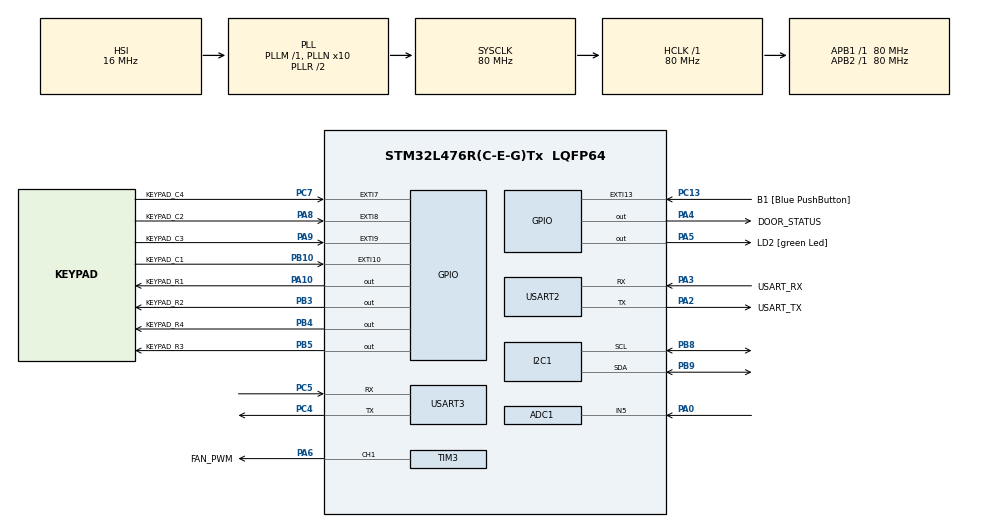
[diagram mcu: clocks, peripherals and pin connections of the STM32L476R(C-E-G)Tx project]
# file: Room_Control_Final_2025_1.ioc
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ADC1.Channel-0\#ChannelRegularConversion=ADC_CHANNEL_5
ADC1.NbrOfConversionFlag=1
ADC1.OffsetNumber-0\#ChannelRegularConversion=ADC_OFFSET_NONE
ADC1.Rank-0\#ChannelRegularConversion=1
ADC1.SamplingTime-0\#ChannelRegularConversion=ADC_SAMPLETIME_2CYCLES_5
ADC1.master=1
Dma.Request0=TIM3_CH1/TRIG
Dma.TIM3_CH1/TRIG.0.Direction=DMA_MEMORY_TO_PERIPH
Dma.TIM3_CH1/TRIG.0.Instance=DMA1_Channel6
Dma.TIM3_CH1/TRIG.0.MemDataAlignment=DMA_MDATAALIGN_HALFWORD
Dma.TIM3_CH1/TRIG.0.MemInc=DMA_MINC_ENABLE
Dma.TIM3_CH1/TRIG.0.Mode=DMA_NORMAL
Dma.TIM3_CH1/TRIG.0.PeriphDataAlignment=DMA_PDATAALIGN_HALFWORD
Dma.TIM3_CH1/TRIG.0.PeriphInc=DMA_PINC_DISABLE
Dma.TIM3_CH1/TRIG.0.Priority=DMA_PRIORITY_LOW
I2C1.Timing=0x10909CEC
Mcu.Family=STM32L4
Mcu.Name=STM32L476R(C-E-G)Tx
Mcu.Package=LQFP64
NVIC.ADC1_2_IRQn=true\:0\:0\:false\:false\:true\:true\:true\:true
NVIC.DMA1_Channel6_IRQn=true\:0\:0\:false\:false\:true\:false\:true\:true
NVIC.EXTI15_10_IRQn=true\:0\:0\:false\:false\:true\:true\:true\:true
NVIC.EXTI9_5_IRQn=true\:0\:0\:false\:false\:true\:true\:true\:true
NVIC.PriorityGroup=NVIC_PRIORITYGROUP_4
NVIC.USART2_IRQn=true\:0\:0\:false\:false\:true\:true\:true\:true
NVIC.USART3_IRQn=true\:0\:0\:false\:false\:true\:true\:true\:true
PA0.Signal=ADCx_IN5
PA10.GPIO_Label=KEYPAD_R1
PA10.Signal=GPIO_Output
PA13\ (JTMS-SWDIO).GPIO_Label=TMS
PA13\ (JTMS-SWDIO).Mode=Serial_Wire
PA13\ (JTMS-SWDIO).Signal=SYS_JTMS-SWDIO
PA14\ (JTCK-SWCLK).GPIO_Label=TCK
PA14\ (JTCK-SWCLK).Mode=Serial_Wire
PA14\ (JTCK-SWCLK).Signal=SYS_JTCK-SWCLK
PA2.GPIO_Label=USART_TX
PA2.GPIO_Mode=GPIO_MODE_AF_PP
PA2.GPIO_PuPd=GPIO_NOPULL
PA2.GPIO_Speed=GPIO_SPEED_FREQ_VERY_HIGH
PA2.Mode=Asynchronous
PA2.Signal=USART2_TX
PA3.GPIO_Label=USART_RX
PA3.GPIO_Mode=GPIO_MODE_AF_PP
PA3.GPIO_PuPd=GPIO_NOPULL
PA3.GPIO_Speed=GPIO_SPEED_FREQ_VERY_HIGH
PA3.Mode=Asynchronous
PA3.Signal=USART2_RX
PA4.GPIO_Label=DOOR_STATUS
PA4.Signal=GPIO_Output
PA5.GPIO_Label=LD2 [green Led]
PA5.GPIO_ModeDefaultOutputPP=GPIO_MODE_OUTPUT_PP
PA5.GPIO_PuPd=GPIO_NOPULL
PA5.GPIO_Speed=GPIO_SPEED_FREQ_LOW
PA5.Signal=GPIO_Output
PA6.GPIO_Label=FAN_PWM
PA6.Signal=S_TIM3_CH1
PA8.GPIO_Label=KEYPAD_C2
PA8.Signal=GPXTI8
PA9.GPIO_Label=KEYPAD_C3
PA9.Signal=GPXTI9
PB10.GPIO_Label=KEYPAD_C1
PB10.Signal=GPXTI10
PB3\ (JTDO-TRACESWO).GPIO_Label=KEYPAD_R2
PB3\ (JTDO-TRACESWO).Signal=GPIO_Output
PB4\ (NJTRST).GPIO_Label=KEYPAD_R4
PB4\ (NJTRST).Signal=GPIO_Output
PB5.GPIO_Label=KEYPAD_R3
PB5.Signal=GPIO_Output
PB8.Mode=I2C
PB8.Signal=I2C1_SCL
PB9.Mode=I2C
PB9.Signal=I2C1_SDA
PC13.GPIO_Label=B1 [Blue PushButton]
PC13.GPIO_ModeDefaultEXTI=GPIO_MODE_IT_FALLING
PC13.GPIO_PuPd=GPIO_NOPULL
PC13.Signal=GPXTI13
PC14-OSC32_IN\ (PC14).Mode=LSE-External-Oscillator
PC14-OSC32_IN\ (PC14).Signal=RCC_OSC32_IN
PC15-OSC32_OUT\ (PC15).Mode=LSE-External-Oscillator
PC15-OSC32_OUT\ (PC15).Signal=RCC_OSC32_OUT
PC4.Mode=Asynchronous
PC4.Signal=USART3_TX
PC5.Mode=Asynchronous
PC5.Signal=USART3_RX
PC7.GPIO_Label=KEYPAD_C4
PC7.Signal=GPXTI7
PH0-OSC_IN\ (PH0).Signal=RCC_OSC_IN
PH1-OSC_OUT\ (PH1).Signal=RCC_OSC_OUT
ProjectManager.HeapSize=0x200
ProjectManager.StackSize=0x400
ProjectManager.TargetToolchain=CMake
RCC.ADCFreq_Value=64000000
RCC.AHBFreq_Value=80000000
RCC.APB1Freq_Value=80000000
RCC.APB1TimFreq_Value=80000000
RCC.APB2Freq_Value=80000000
RCC.APB2TimFreq_Value=80000000
RCC.CortexFreq_Value=80000000
RCC.HCLKFreq_Value=80000000
RCC.HSE_VALUE=8000000
RCC.HSI_VALUE=16000000
RCC.MSI_VALUE=4000000
RCC.PLLN=10
RCC.PLLSourceVirtual=RCC_PLLSOURCE_HSI
RCC.PREFETCH_ENABLE=1
RCC.SYSCLKFreq_VALUE=80000000
RCC.SYSCLKSource=RCC_SYSCLKSOURCE_PLLCLK
RCC.USBFreq_Value=64000000
RCC.VCOOutputFreq_Value=160000000
SH.ADCx_IN5.0=ADC1_IN5,IN5-Single-Ended
SH.S_TIM3_CH1.0=TIM3_CH1,PWM Generation1 CH1
TIM3.Channel-PWM\ Generation1\ CH1=TIM_CHANNEL_1
TIM3.Period=100 - 1
TIM3.Prescaler=8000 - 1
USART2.VirtualMode-Asynchronous=VM_ASYNC
USART3.VirtualMode-Asynchronous=VM_ASYNC
board=NUCLEO-L476RG

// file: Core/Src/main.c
/* USER CODE BEGIN Header */
/**
  ******************************************************************************
  * @file           : main.c
  * @brief          : Main program body
  ******************************************************************************
  * @attention
  *
  * Copyright (c) 2025 STMicroelectronics.
  * All rights reserved.
  *
  * This software is licensed under terms that can be found in the LICENSE file
  * in the root directory of this software component.
  * If no LICENSE file comes with this software, it is provided AS-IS.
  *
  ******************************************************************************
  */
/* USER CODE END Header */
#include "main.h"

/* USER CODE BEGIN Includes */
#include "led.h"
#include "keypad.h"
#include "ring_buffer.h"
#include "room_control.h"
#include <stdio.h>
#include "ssd1306.h"
#include "ssd1306_fonts.h"
#include "command_parser.h"

/* USER CODE END Includes */

ADC_HandleTypeDef hadc1;
I2C_HandleTypeDef hi2c1;
TIM_HandleTypeDef htim3;
DMA_HandleTypeDef hdma_tim3_ch1_trig;
UART_HandleTypeDef huart2;
UART_HandleTypeDef huart3;

/* USER CODE BEGIN PV */
uint8_t button_pressed = 0; // Flag to indicate if the button is pressed

// Estructura que contiene la configuración del LED de "latido" (LD2)
led_handle_t heartbeat_led = {
    .port = LD2_GPIO_Port,
    .pin = LD2_Pin
};

// Variable para almacenar el byte recibido por UART2 (canal de depuración o consola)
uint8_t usart_2_rxbyte = 0;

// Configuración del teclado matricial (Keypad 4x4)
keypad_handle_t keypad = {
    .row_ports = {KEYPAD_R1_GPIO_Port, KEYPAD_R2_GPIO_Port, KEYPAD_R3_GPIO_Port, KEYPAD_R4_GPIO_Port},
    .row_pins  = {KEYPAD_R1_Pin, KEYPAD_R2_Pin, KEYPAD_R3_Pin, KEYPAD_R4_Pin},
    .col_ports = {KEYPAD_C1_GPIO_Port, KEYPAD_C2_GPIO_Port, KEYPAD_C3_GPIO_Port, KEYPAD_C4_GPIO_Port},
    .col_pins  = {KEYPAD_C1_Pin, KEYPAD_C2_Pin, KEYPAD_C3_Pin, KEYPAD_C4_Pin}
};
#define KEYPAD_BUFFER_LEN 16
// Buffer circular donde se almacenan las teclas presionadas
uint8_t keypad_buffer[KEYPAD_BUFFER_LEN];
ring_buffer_t keypad_rb;
// Variable para identificar cuál pin del keypad generó una interrupción
volatile uint16_t keypad_interrupt_pin = 0;

//Estructura principal que representa el sistema de control del cuarto
room_control_t room_system;

// Byte recibido por UART3 (canal del ESP-01 para control remoto)
uint8_t usart_3_rxbyte = 0;

TIM_HandleTypeDef htim2;

/* USER CODE END PV */

void SystemClock_Config(void);
static void MX_GPIO_Init(void);
static void MX_DMA_Init(void);
static void MX_USART2_UART_Init(void);
static void MX_I2C1_Init(void);
static void MX_TIM3_Init(void);
static void MX_ADC1_Init(void);
static void MX_USART3_UART_Init(void);

/* USER CODE BEGIN 0 */

// Callback de interrupción para pines GPIO (por ejemplo, botón B1 o columnas del keypad)
void HAL_GPIO_EXTI_Callback(uint16_t GPIO_Pin)
{
  if (GPIO_Pin == B1_Pin) {
    // Si se presiona el botón físico, se activa la bandera
    button_pressed = 1; // Set the flag when the button is pressed
  } else {
    // Si es una interrupción de columna del keypad, se guarda el pin
    keypad_interrupt_pin = GPIO_Pin;
  }
}

// Callback cuando se recibe un byte por UART (tanto en UART2 como en UART3)
void HAL_UART_RxCpltCallback(UART_HandleTypeDef *huart)
{
  if (huart->Instance == USART2) {
    // Procesa el byte recibido por la terminal UART2
    command_parser_process_debug(usart_2_rxbyte);
    HAL_UART_Receive_IT(&huart2, &usart_2_rxbyte, 1);
  } else if (huart->Instance == USART3) {
     // Procesa el byte recibido por el ESP-01 (WiFi) a través de UART3
    command_parser_process_esp01(usart_3_rxbyte);
    HAL_UART_Receive_IT(&huart3, &usart_3_rxbyte, 1);
  }
}

// Función para hacer parpadear el LED LD2 cuando el sistema está en estado bloqueado
void heartbeat(void)
{
  static uint32_t last_toggle = 0;
  // Solo parpadea si el sistema está bloqueado
  if (room_control_get_state(&room_system) == ROOM_STATE_LOCKED) {
    // El LED parpadea cada 500ms
    if (HAL_GetTick() - last_toggle >= 500) {
      led_toggle(&heartbeat_led);
      last_toggle = HAL_GetTick();
    }
  }
}

// Escribe un mensaje en la pantalla OLED en una posición específica
void write_to_oled(char *message, SSD1306_COLOR color, uint8_t x, uint8_t y)
{
  ssd1306_Fill(Black); // Clear the display
  ssd1306_SetCursor(x, y); // Set cursor to the specified position
  ssd1306_WriteString(message, Font_7x10, color);
  ssd1306_UpdateScreen(); // Update the display to show the message
}

// Función que lee el sensor LM35 conectado al ADC
float read_temperature(void) {
    const int NUM_SAMPLES = 16;
    uint32_t adc_sum = 0;

    // Toma 16 muestras para hacer un promedio y filtrar ruido
    for (int i = 0; i < NUM_SAMPLES; ++i) {
        HAL_ADC_Start(&hadc1);
        if (HAL_ADC_PollForConversion(&hadc1, 10) == HAL_OK) {
            adc_sum += HAL_ADC_GetValue(&hadc1);
        }
        HAL_ADC_Stop(&hadc1);

    }

    // Se convierte la lectura promedio a voltaje y luego a temperatura
    float adc_avg = adc_sum / (float)NUM_SAMPLES;
    float voltage = (adc_avg * 3.3f) / 4095.0f;
    // Inversión forzada
    float inverted_voltage = 0.5f - voltage; // Ajusta el offset según tu sensor

    return inverted_voltage * 100.0f;// LM35 da 10mV por °C → 1V = 100°C
}

void heartbeat_temp(void) {
    static uint32_t last_read_time = 0;
    uint32_t now = HAL_GetTick();

    if (now - last_read_time >= 2000) {
        float temperature = read_temperature();
        room_control_set_temperature(&room_system, temperature);
        last_read_time = now;
    }
}

/* USER CODE END 0 */

int main(void)
{

  /* MCU Configuration--------------------------------------------------------*/

  /* Reset of all peripherals, Initializes the Flash interface and the Systick. */
    HAL_Init();

  /* Configure the system clock */
  SystemClock_Config();

  /* Initialize all configured peripherals */
  MX_GPIO_Init();
  MX_DMA_Init();
  MX_USART2_UART_Init();
  MX_I2C1_Init();
  MX_TIM3_Init();
  MX_ADC1_Init();
  MX_USART3_UART_Init();
  /* USER CODE BEGIN 2 */

  led_init(&heartbeat_led);// Inicializa el LED de latido (LED verde LD2)
  ssd1306_Init();// Inicializa pantalla OLED

  // Habilita recepción por interrupción en UART2 y UART3 (modo no bloqueante)
  HAL_UART_Receive_IT(&huart2, &usart_2_rxbyte, 1);
  HAL_UART_Receive_IT(&huart3, &usart_3_rxbyte, 1);

  // Inicializa buffer circular y el keypad físico
  ring_buffer_init(&keypad_rb, keypad_buffer, KEYPAD_BUFFER_LEN);
  keypad_init(&keypad);

  // TODO: TAREA - Descomentar cuando implementen la lógica del sistema
  // Inicializa la lógica del sistema de control del cuarto (estados, contraseña, etc.)
  room_control_init(&room_system);

  // Iniciar PWM para el ventilador
  HAL_TIM_PWM_Start(&htim3, TIM_CHANNEL_1);

  /* USER CODE END 2 */

  /* Infinite loop */
  /* USER CODE BEGIN WHILE */

  // Clear the display
  ssd1306_Fill(Black);
  // Display a message on the OLED
  ssd1306_SetCursor(17, 17); // Set cursor to the center
  ssd1306_WriteString("Welcome to Room Control", Font_7x10, White);
  ssd1306_UpdateScreen(); // Update the display to show the
  HAL_UART_Transmit(&huart2, (uint8_t *)"Welcome to Room Control\r\n", 27, HAL_MAX_DELAY);

  while (1) {
    // Parpadea el LED si el sistema está bloqueado
    heartbeat(); // Call the heartbeat function to toggle the LED
    heartbeat_temp(); // Call the function to read temperature periodically
    // TODO: TAREA - Descomentar cuando implementen la máquina de estados
    // Actualiza el sistema de control del cuarto (máquina de estados)
    room_control_update(&room_system);

    // Procesa teclas del keypad
    if (keypad_interrupt_pin != 0) {
      char key = keypad_scan(&keypad, keypad_interrupt_pin);// Lee la tecla presionada
      if (key != '\0') {
        // TODO: TAREA - Descomentar para enviar teclas al sistema de control
        room_control_process_key(&room_system, key);// Envía la tecla al sistema de control del cuarto
      }
      keypad_interrupt_pin = 0;// Limpia el pin de interrupción para evitar lecturas duplicadas
    }

    // DEMO: Button functionality - Remove when implementing room control logic
    if (button_pressed) {
      write_to_oled("Button Pressed!", White, 17, 17); // Display message on OLED
      button_pressed = 0; // Reset the flag
    }

    // DEMO: UART functionality - Remove when implementing room control logic
    if (usart_2_rxbyte != 0) {
      write_to_oled((char *)&usart_2_rxbyte, White, 31, 31); // Display received byte on OLED
      usart_2_rxbyte = 0; // Reset the received byte variable
    }

    // TODO: TAREA - Implementar procesamiento de comandos remotos
    // command_parser_process(); // Procesar comandos de UART2 y UART3

    // TODO: TAREA - Leer sensor de temperatura y actualizar sistema

    //float temperature = read_temperature();
    //room_control_set_temperature(&room_system, temperature);// Actualiza la temperatura en la estructura del sistema

    /* USER CODE END WHILE */

  }
}

void SystemClock_Config(void)
{
  RCC_OscInitTypeDef RCC_OscInitStruct = {0};
  RCC_ClkInitTypeDef RCC_ClkInitStruct = {0};

  /** Configure the main internal regulator output voltage
  */
  if (HAL_PWREx_ControlVoltageScaling(PWR_REGULATOR_VOLTAGE_SCALE1) != HAL_OK)
  {
    Error_Handler();
  }

  /** Initializes the RCC Oscillators according to the specified parameters
  * in the RCC_OscInitTypeDef structure.
  */
  RCC_OscInitStruct.OscillatorType = RCC_OSCILLATORTYPE_HSI;
  RCC_OscInitStruct.HSIState = RCC_HSI_ON;
  RCC_OscInitStruct.HSICalibrationValue = RCC_HSICALIBRATION_DEFAULT;
  RCC_OscInitStruct.PLL.PLLState = RCC_PLL_ON;
  RCC_OscInitStruct.PLL.PLLSource = RCC_PLLSOURCE_HSI;
  RCC_OscInitStruct.PLL.PLLM = 1;
  RCC_OscInitStruct.PLL.PLLN = 10;
  RCC_OscInitStruct.PLL.PLLP = RCC_PLLP_DIV7;
  RCC_OscInitStruct.PLL.PLLQ = RCC_PLLQ_DIV2;
  RCC_OscInitStruct.PLL.PLLR = RCC_PLLR_DIV2;
  if (HAL_RCC_OscConfig(&RCC_OscInitStruct) != HAL_OK)
  {
    Error_Handler();
  }

  /** Initializes the CPU, AHB and APB buses clocks
  */
  RCC_ClkInitStruct.ClockType = RCC_CLOCKTYPE_HCLK|RCC_CLOCKTYPE_SYSCLK
                              |RCC_CLOCKTYPE_PCLK1|RCC_CLOCKTYPE_PCLK2;
  RCC_ClkInitStruct.SYSCLKSource = RCC_SYSCLKSOURCE_PLLCLK;
  RCC_ClkInitStruct.AHBCLKDivider = RCC_SYSCLK_DIV1;
  RCC_ClkInitStruct.APB1CLKDivider = RCC_HCLK_DIV1;
  RCC_ClkInitStruct.APB2CLKDivider = RCC_HCLK_DIV1;

  if (HAL_RCC_ClockConfig(&RCC_ClkInitStruct, FLASH_LATENCY_4) != HAL_OK)
  {
    Error_Handler();
  }
}

static void MX_ADC1_Init(void)
{

  ADC_MultiModeTypeDef multimode = {0};
  ADC_ChannelConfTypeDef sConfig = {0};

  /** Common config
  */
  hadc1.Instance = ADC1;
  hadc1.Init.ClockPrescaler = ADC_CLOCK_ASYNC_DIV1;
  hadc1.Init.Resolution = ADC_RESOLUTION_12B;
  hadc1.Init.DataAlign = ADC_DATAALIGN_RIGHT;
  hadc1.Init.ScanConvMode = ADC_SCAN_DISABLE;
  hadc1.Init.EOCSelection = ADC_EOC_SINGLE_CONV;
  hadc1.Init.LowPowerAutoWait = DISABLE;
  hadc1.Init.ContinuousConvMode = DISABLE;
  hadc1.Init.NbrOfConversion = 1;
  hadc1.Init.DiscontinuousConvMode = DISABLE;
  hadc1.Init.ExternalTrigConv = ADC_SOFTWARE_START;
  hadc1.Init.ExternalTrigConvEdge = ADC_EXTERNALTRIGCONVEDGE_NONE;
  hadc1.Init.DMAContinuousRequests = DISABLE;
  hadc1.Init.Overrun = ADC_OVR_DATA_PRESERVED;
  hadc1.Init.OversamplingMode = DISABLE;
  if (HAL_ADC_Init(&hadc1) != HAL_OK)
  {
    Error_Handler();
  }

  /** Configure the ADC multi-mode
  */
  multimode.Mode = ADC_MODE_INDEPENDENT;
  if (HAL_ADCEx_MultiModeConfigChannel(&hadc1, &multimode) != HAL_OK)
  {
    Error_Handler();
  }

  /** Configure Regular Channel
  */
  sConfig.Channel = ADC_CHANNEL_5;
  sConfig.Rank = ADC_REGULAR_RANK_1;
  sConfig.SamplingTime = ADC_SAMPLETIME_2CYCLES_5;
  sConfig.SingleDiff = ADC_SINGLE_ENDED;
  sConfig.OffsetNumber = ADC_OFFSET_NONE;
  sConfig.Offset = 0;
  if (HAL_ADC_ConfigChannel(&hadc1, &sConfig) != HAL_OK)
  {
    Error_Handler();
  }

}

static void MX_I2C1_Init(void)
{

  hi2c1.Instance = I2C1;
  hi2c1.Init.Timing = 0x10909CEC;
  hi2c1.Init.OwnAddress1 = 0;
  hi2c1.Init.AddressingMode = I2C_ADDRESSINGMODE_7BIT;
  hi2c1.Init.DualAddressMode = I2C_DUALADDRESS_DISABLE;
  hi2c1.Init.OwnAddress2 = 0;
  hi2c1.Init.OwnAddress2Masks = I2C_OA2_NOMASK;
  hi2c1.Init.GeneralCallMode = I2C_GENERALCALL_DISABLE;
  hi2c1.Init.NoStretchMode = I2C_NOSTRETCH_DISABLE;
  if (HAL_I2C_Init(&hi2c1) != HAL_OK)
  {
    Error_Handler();
  }

  /** Configure Analogue filter
  */
  if (HAL_I2CEx_ConfigAnalogFilter(&hi2c1, I2C_ANALOGFILTER_ENABLE) != HAL_OK)
  {
    Error_Handler();
  }

  /** Configure Digital filter
  */
  if (HAL_I2CEx_ConfigDigitalFilter(&hi2c1, 0) != HAL_OK)
  {
    Error_Handler();
  }

}

static void MX_TIM3_Init(void)
{

  TIM_MasterConfigTypeDef sMasterConfig = {0};
  TIM_OC_InitTypeDef sConfigOC = {0};

  htim3.Instance = TIM3;
  htim3.Init.Prescaler = 8000 - 1;
  htim3.Init.CounterMode = TIM_COUNTERMODE_UP;
  htim3.Init.Period = 100 - 1;
  htim3.Init.ClockDivision = TIM_CLOCKDIVISION_DIV1;
  htim3.Init.AutoReloadPreload = TIM_AUTORELOAD_PRELOAD_DISABLE;
  if (HAL_TIM_PWM_Init(&htim3) != HAL_OK)
  {
    Error_Handler();
  }
  sMasterConfig.MasterOutputTrigger = TIM_TRGO_RESET;
  sMasterConfig.MasterSlaveMode = TIM_MASTERSLAVEMODE_DISABLE;
  if (HAL_TIMEx_MasterConfigSynchronization(&htim3, &sMasterConfig) != HAL_OK)
  {
    Error_Handler();
  }
  sConfigOC.OCMode = TIM_OCMODE_PWM1;
  sConfigOC.Pulse = 0;
  sConfigOC.OCPolarity = TIM_OCPOLARITY_HIGH;
  sConfigOC.OCFastMode = TIM_OCFAST_DISABLE;
  if (HAL_TIM_PWM_ConfigChannel(&htim3, &sConfigOC, TIM_CHANNEL_1) != HAL_OK)
  {
    Error_Handler();
  }
  HAL_TIM_MspPostInit(&htim3);

}

static void MX_USART2_UART_Init(void)
{

  huart2.Instance = USART2;
  huart2.Init.BaudRate = 115200;
  huart2.Init.WordLength = UART_WORDLENGTH_8B;
  huart2.Init.StopBits = UART_STOPBITS_1;
  huart2.Init.Parity = UART_PARITY_NONE;
  huart2.Init.Mode = UART_MODE_TX_RX;
  huart2.Init.HwFlowCtl = UART_HWCONTROL_NONE;
  huart2.Init.OverSampling = UART_OVERSAMPLING_16;
  huart2.Init.OneBitSampling = UART_ONE_BIT_SAMPLE_DISABLE;
  huart2.AdvancedInit.AdvFeatureInit = UART_ADVFEATURE_NO_INIT;
  if (HAL_UART_Init(&huart2) != HAL_OK)
  {
    Error_Handler();
  }

}

static void MX_USART3_UART_Init(void)
{

  huart3.Instance = USART3;
  huart3.Init.BaudRate = 115200;
  huart3.Init.WordLength = UART_WORDLENGTH_8B;
  huart3.Init.StopBits = UART_STOPBITS_1;
  huart3.Init.Parity = UART_PARITY_NONE;
  huart3.Init.Mode = UART_MODE_TX_RX;
  huart3.Init.HwFlowCtl = UART_HWCONTROL_NONE;
  huart3.Init.OverSampling = UART_OVERSAMPLING_16;
  huart3.Init.OneBitSampling = UART_ONE_BIT_SAMPLE_DISABLE;
  huart3.AdvancedInit.AdvFeatureInit = UART_ADVFEATURE_NO_INIT;
  if (HAL_UART_Init(&huart3) != HAL_OK)
  {
    Error_Handler();
  }

}

static void MX_DMA_Init(void)
{

  /* DMA controller clock enable */
  __HAL_RCC_DMA1_CLK_ENABLE();

  /* DMA interrupt init */
  /* DMA1_Channel6_IRQn interrupt configuration */
  HAL_NVIC_SetPriority(DMA1_Channel6_IRQn, 0, 0);
  HAL_NVIC_EnableIRQ(DMA1_Channel6_IRQn);

}

static void MX_GPIO_Init(void)
{
  GPIO_InitTypeDef GPIO_InitStruct = {0};

  /* GPIO Ports Clock Enable */
  __HAL_RCC_GPIOC_CLK_ENABLE();
  __HAL_RCC_GPIOH_CLK_ENABLE();
  __HAL_RCC_GPIOA_CLK_ENABLE();
  __HAL_RCC_GPIOB_CLK_ENABLE();

  /*Configure GPIO pin Output Level */
  HAL_GPIO_WritePin(GPIOA, DOOR_STATUS_Pin|LD2_Pin|KEYPAD_R1_Pin, GPIO_PIN_RESET);

  /*Configure GPIO pin Output Level */
  HAL_GPIO_WritePin(GPIOB, KEYPAD_R2_Pin|KEYPAD_R4_Pin|KEYPAD_R3_Pin, GPIO_PIN_RESET);

  /*Configure GPIO pin : B1_Pin */
  GPIO_InitStruct.Pin = B1_Pin;
  GPIO_InitStruct.Mode = GPIO_MODE_IT_FALLING;
  GPIO_InitStruct.Pull = GPIO_NOPULL;
  HAL_GPIO_Init(B1_GPIO_Port, &GPIO_InitStruct);

  /*Configure GPIO pins : DOOR_STATUS_Pin LD2_Pin KEYPAD_R1_Pin */
  GPIO_InitStruct.Pin = DOOR_STATUS_Pin|LD2_Pin|KEYPAD_R1_Pin;
  GPIO_InitStruct.Mode = GPIO_MODE_OUTPUT_PP;
  GPIO_InitStruct.Pull = GPIO_NOPULL;
  GPIO_InitStruct.Speed = GPIO_SPEED_FREQ_LOW;
  HAL_GPIO_Init(GPIOA, &GPIO_InitStruct);

  /*Configure GPIO pin : KEYPAD_C1_Pin */
  GPIO_InitStruct.Pin = KEYPAD_C1_Pin;
  GPIO_InitStruct.Mode = GPIO_MODE_IT_RISING;
  GPIO_InitStruct.Pull = GPIO_NOPULL;
  HAL_GPIO_Init(KEYPAD_C1_GPIO_Port, &GPIO_InitStruct);

  /*Configure GPIO pin : KEYPAD_C4_Pin */
  GPIO_InitStruct.Pin = KEYPAD_C4_Pin;
  GPIO_InitStruct.Mode = GPIO_MODE_IT_RISING;
  GPIO_InitStruct.Pull = GPIO_NOPULL;
  HAL_GPIO_Init(KEYPAD_C4_GPIO_Port, &GPIO_InitStruct);

  /*Configure GPIO pins : KEYPAD_C2_Pin KEYPAD_C3_Pin */
  GPIO_InitStruct.Pin = KEYPAD_C2_Pin|KEYPAD_C3_Pin;
  GPIO_InitStruct.Mode = GPIO_MODE_IT_RISING;
  GPIO_InitStruct.Pull = GPIO_NOPULL;
  HAL_GPIO_Init(GPIOA, &GPIO_InitStruct);

  /*Configure GPIO pins : KEYPAD_R2_Pin KEYPAD_R4_Pin KEYPAD_R3_Pin */
  GPIO_InitStruct.Pin = KEYPAD_R2_Pin|KEYPAD_R4_Pin|KEYPAD_R3_Pin;
  GPIO_InitStruct.Mode = GPIO_MODE_OUTPUT_PP;
  GPIO_InitStruct.Pull = GPIO_NOPULL;
  GPIO_InitStruct.Speed = GPIO_SPEED_FREQ_LOW;
  HAL_GPIO_Init(GPIOB, &GPIO_InitStruct);

  /* EXTI interrupt init*/
  HAL_NVIC_SetPriority(EXTI9_5_IRQn, 0, 0);
  HAL_NVIC_EnableIRQ(EXTI9_5_IRQn);

  HAL_NVIC_SetPriority(EXTI15_10_IRQn, 0, 0);
  HAL_NVIC_EnableIRQ(EXTI15_10_IRQn);

}

void Error_Handler(void)
{
  __disable_irq();
  while (1)
  {
  }
}
